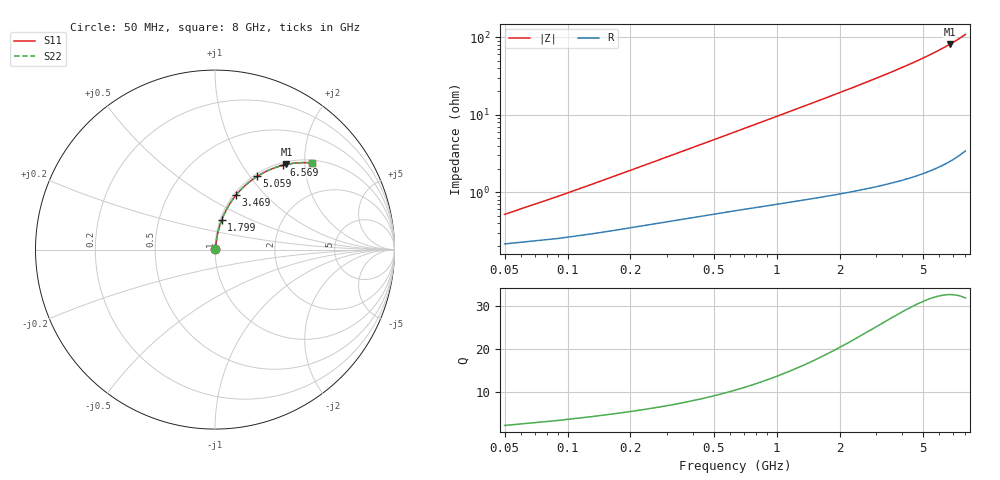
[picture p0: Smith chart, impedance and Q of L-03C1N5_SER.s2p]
! L-03C1N5
! Data taken by Rita
! Created Thu Jun 15 16:37:46 2006
# hz S ma R 50
! 2 Port Network Data from SP1.SP block
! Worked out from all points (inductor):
!   201 points, 50 MHz to 8 GHz, reference 50 ohm
!   read as one part in series: L = 1.5 nH near 89.75 MHz
!   highest Q = 32.5 at 6.728 GHz (marker M1), where L = 1.91 nH
!   S11 on the Smith chart (normalised r, x): 50 MHz: 1.00, +0.01; 1.799 GHz: 1.02, +0.34; 3.469 GHz: 1.03, +0.69; 5.059 GHz: 1.03, +1.09; 6.569 GHz: 1.05, +1.56; 8 GHz: 1.07, +2.17
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5e7  0.005169 65.2  0.9978 -0.3  0.9978 -0.3  0.005169 65.2
8.975e7  0.008806 72.9  0.9974 -0.5  0.9974 -0.5  0.008806 72.9
1.295e8  0.01251 76.0  0.997 -0.7  0.997 -0.7  0.01251 76.0
1.6925e8  0.01622 77.6  0.9967 -0.9  0.9967 -0.9  0.01622 77.6
2.09e8  0.01994 78.7  0.9963 -1.1  0.9963 -1.1  0.01994 78.7
2.885e8  0.02739 79.9  0.9956 -1.6  0.9956 -1.6  0.02739 79.9
4.0775e8  0.03854 80.7  0.9945 -2.2  0.9945 -2.2  0.03854 80.7
5.6675e8  0.05341 81.1  0.9931 -3.0  0.9931 -3.0  0.05341 81.1
8.0525e8  0.07569 80.9  0.9908 -4.3  0.9908 -4.3  0.07569 80.9
1.0835e9  0.1017 80.2  0.9877 -5.8  0.9877 -5.8  0.1017 80.2
1.4015e9  0.1314 79.0  0.9834 -7.5  0.9834 -7.5  0.1314 79.0
1.799e9  0.1684 77.3  0.9769 -9.7  0.9769 -9.7  0.1684 77.3
2.2363e9  0.2092 75.3  0.9682 -12.1  0.9682 -12.1  0.2092 75.3
2.7133e9  0.2537 72.9  0.9567 -14.7  0.9567 -14.7  0.2537 72.9
3.4685e9  0.3241 69.0  0.9341 -18.9  0.9341 -18.9  0.3241 69.0
4.025e9  0.3757 65.9  0.9137 -22.1  0.9137 -22.1  0.3757 65.9
5.0585e9  0.4709 60.1  0.8672 -28.1  0.8672 -28.1  0.4709 60.1
5.3765e9  0.4998 58.2  0.8504 -30.0  0.8504 -30.0  0.4998 58.2
6.569e9  0.6057 51.0  0.7773 -37.3  0.7773 -37.3  0.6057 51.0
6.6883e9  0.616 50.2  0.7691 -38.0  0.7691 -38.0  0.616 50.2
6.728e9  0.6194 50.0  0.7663 -38.2  0.7663 -38.2  0.6194 50.0
8e9  0.7238 41.9  0.6676 -46.3  0.6676 -46.3  0.7238 41.9
